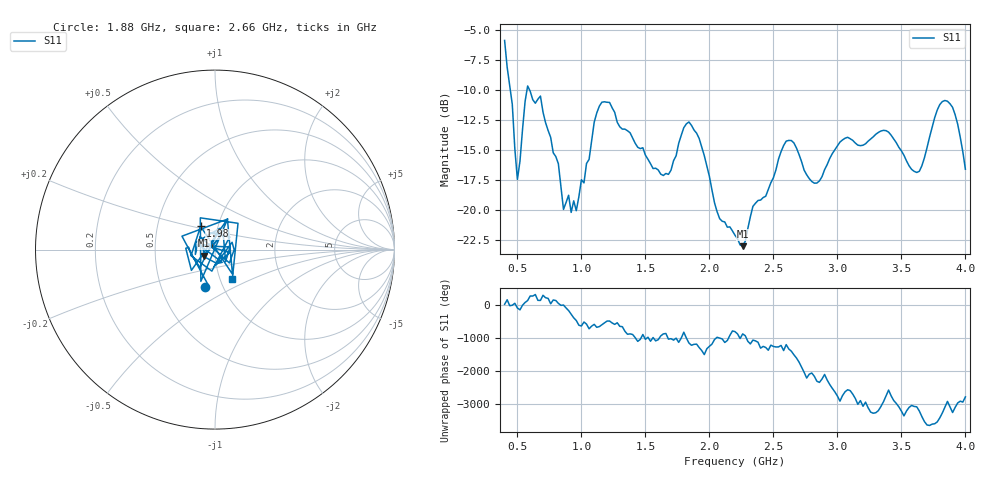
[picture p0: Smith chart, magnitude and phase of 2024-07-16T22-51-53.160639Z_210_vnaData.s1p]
!Created with skrf (http://scikit-rf.org).
# Hz S RI R 50.0
!freq ReS11 ImS11
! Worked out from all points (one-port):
!   181 points, 400 MHz to 4 GHz, reference 50 ohm
!   lowest |S11| = -23.0 dB at 2.26 GHz (marker M1), VSWR 1.15, Z = 44.1 - j3.03 ohm
!   |S11| at or under -10 dB: 444.5 MHz to 574.7 MHz (130.3 MHz wide, 25.6 % of centre); 595.5 MHz to end of sweep
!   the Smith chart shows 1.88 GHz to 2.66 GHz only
!   S11 on the Smith chart (normalised r, x): 1.88 GHz: 0.82, -0.36; 1.98 GHz: 0.83, +0.22; 2.66 GHz: 1.14, -0.39
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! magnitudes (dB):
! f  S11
! 400 MHz  -5.9
! 460 MHz  -11.2
! 500 MHz  -17.5
! 580 MHz  -9.7
! 680 MHz  -10.5
! 820 MHz  -16.1
! 860 MHz  -20.0
! 900 MHz  -18.8
! 960 MHz  -20.1
! 1.16 GHz  -11.0
! 1.3 GHz  -13.1
! 1.64 GHz  -17.1
! 1.76 GHz  -14.5
! 1.88 GHz  -13.3
! 1.98 GHz  -16.3
! 2.08 GHz  -20.7
! 2.2 GHz  -22.1
! 2.26 GHz  -23.0
! 2.34 GHz  -19.7
! 2.66 GHz  -14.4
! 2.84 GHz  -17.8
! 3.1 GHz  -14.1
! 3.38 GHz  -13.4
! 3.56 GHz  -16.3
! 3.64 GHz  -16.8
! 3.84 GHz  -10.9
! 3.92 GHz  -12.1
! 4 GHz  -16.6
